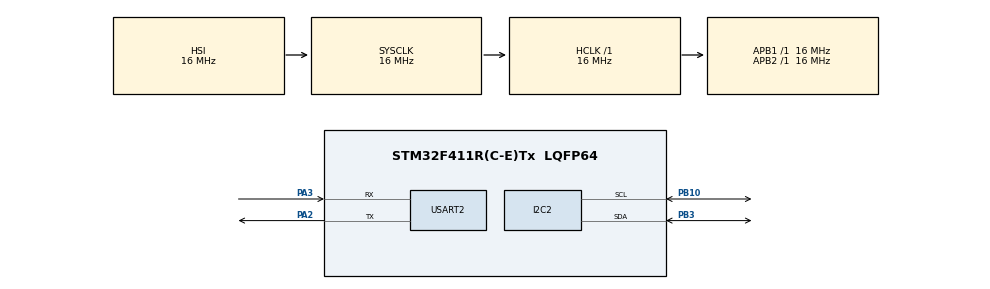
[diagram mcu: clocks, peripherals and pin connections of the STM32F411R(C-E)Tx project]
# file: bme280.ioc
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Mcu.Family=STM32F4
Mcu.Name=STM32F411R(C-E)Tx
Mcu.Package=LQFP64
NVIC.PriorityGroup=NVIC_PRIORITYGROUP_4
PA13.Mode=Serial_Wire
PA13.Signal=SYS_JTMS-SWDIO
PA14.Mode=Serial_Wire
PA14.Signal=SYS_JTCK-SWCLK
PA2.Mode=Asynchronous
PA2.Signal=USART2_TX
PA3.Mode=Asynchronous
PA3.Signal=USART2_RX
PB10.Mode=I2C
PB10.Signal=I2C2_SCL
PB3.Mode=I2C
PB3.Signal=I2C2_SDA
ProjectManager.HeapSize=0x200
ProjectManager.StackSize=0x400
ProjectManager.TargetToolchain=STM32CubeIDE
RCC.AHBFreq_Value=16000000
RCC.APB1Freq_Value=16000000
RCC.APB2Freq_Value=16000000
RCC.CortexFreq_Value=16000000
RCC.HSE_VALUE=25000000
RCC.HSI_VALUE=16000000
RCC.LSE_VALUE=32768
RCC.SYSCLKFreq_VALUE=16000000
RCC.VCOOutputFreq_Value=192000000
USART2.VirtualMode=VM_ASYNC
VP_TIM1_VS_ClockSourceINT.Mode=Internal
board=custom

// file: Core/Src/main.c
/* USER CODE BEGIN Header */
/**
  ******************************************************************************
  * @file           : main.c
  * @brief          : Main program body
  ******************************************************************************
  * @attention
  *
  * Copyright (c) 2025 STMicroelectronics.
  * All rights reserved.
  *
  * This software is licensed under terms that can be found in the LICENSE file
  * in the root directory of this software component.
  * If no LICENSE file comes with this software, it is provided AS-IS.
  *
  ******************************************************************************
  */
/* USER CODE END Header */
#include "main.h"

/* USER CODE BEGIN Includes */
#include <stdio.h>

/* USER CODE END Includes */

I2C_HandleTypeDef hi2c2;

TIM_HandleTypeDef htim1;

UART_HandleTypeDef huart2;

/* USER CODE BEGIN PV */
#define BMP280_ADDR (0x76 << 1)  // Use 0x77<<1 if SDO is pulled high

/* USER CODE END PV */

void SystemClock_Config(void);
static void MX_GPIO_Init(void);
static void MX_I2C2_Init(void);
static void MX_TIM1_Init(void);
static void MX_USART2_UART_Init(void);
void test_bmp280_chip_id(void);
void bmp280_configure(void);
void bmp280_read_calibration(void);
void bmp280_read_raw(int32_t *temp, int32_t *press);

/* USER CODE BEGIN PFP */
int32_t t_fine = 0;

// Calibration data struct
uint16_t dig_T1;
int16_t  dig_T2, dig_T3;
uint16_t dig_P1;
int16_t  dig_P2, dig_P3, dig_P4, dig_P5, dig_P6, dig_P7, dig_P8, dig_P9;
/* USER CODE END PFP */

int main(void)
{

  /* MCU Configuration--------------------------------------------------------*/

  /* Reset of all peripherals, Initializes the Flash interface and the Systick. */
  HAL_Init();

  /* Configure the system clock */
  SystemClock_Config();

  /* Initialize all configured peripherals */
  MX_GPIO_Init();
  MX_I2C2_Init();
  MX_TIM1_Init();
  MX_USART2_UART_Init();
  /* USER CODE BEGIN 2 */
  printf("🔁 Starting BMP280 test...\r\n");
  test_bmp280_chip_id();
  printf("🔁 Starting BMP280 sensor test...\r\n");

  bmp280_read_calibration();
  bmp280_configure();

  HAL_Delay(100);  // Wait for sensor to settlef

  int32_t temp, press;
  bmp280_read_raw(&temp, &press);

  printf("🌡 Temperature: %.2f °C\r\n", temp / 100.0);
  printf("⏱ Pressure   : %.2f hPa\r\n", press / 25600.0);
  /* USER CODE END 2 */

  /* Infinite loop */
  while (1)
  {
	  HAL_Delay(1000);
	  bmp280_read_raw(&temp, &press);

	  printf("🌡 Temperature: %.2f °C\r\n", temp / 100.0);
	  printf("⏱ Pressure   : %.2f hPa\r\n", press / 25600.0);
  }
}

void SystemClock_Config(void)
{
  RCC_OscInitTypeDef RCC_OscInitStruct = {0};
  RCC_ClkInitTypeDef RCC_ClkInitStruct = {0};

  /** Configure the main internal regulator output voltage
  */
  __HAL_RCC_PWR_CLK_ENABLE();
  __HAL_PWR_VOLTAGESCALING_CONFIG(PWR_REGULATOR_VOLTAGE_SCALE1);

  /** Initializes the RCC Oscillators according to the specified parameters
  * in the RCC_OscInitTypeDef structure.
  */
  RCC_OscInitStruct.OscillatorType = RCC_OSCILLATORTYPE_HSI;
  RCC_OscInitStruct.HSIState = RCC_HSI_ON;
  RCC_OscInitStruct.HSICalibrationValue = RCC_HSICALIBRATION_DEFAULT;
  RCC_OscInitStruct.PLL.PLLState = RCC_PLL_NONE;
  if (HAL_RCC_OscConfig(&RCC_OscInitStruct) != HAL_OK)
  {
    Error_Handler();
  }

  /** Initializes the CPU, AHB and APB buses clocks
  */
  RCC_ClkInitStruct.ClockType = RCC_CLOCKTYPE_HCLK|RCC_CLOCKTYPE_SYSCLK
                              |RCC_CLOCKTYPE_PCLK1|RCC_CLOCKTYPE_PCLK2;
  RCC_ClkInitStruct.SYSCLKSource = RCC_SYSCLKSOURCE_HSI;
  RCC_ClkInitStruct.AHBCLKDivider = RCC_SYSCLK_DIV1;
  RCC_ClkInitStruct.APB1CLKDivider = RCC_HCLK_DIV1;
  RCC_ClkInitStruct.APB2CLKDivider = RCC_HCLK_DIV1;

  if (HAL_RCC_ClockConfig(&RCC_ClkInitStruct, FLASH_LATENCY_0) != HAL_OK)
  {
    Error_Handler();
  }
}

static void MX_I2C2_Init(void)
{

  hi2c2.Instance = I2C2;
  hi2c2.Init.ClockSpeed = 100000;
  hi2c2.Init.DutyCycle = I2C_DUTYCYCLE_2;
  hi2c2.Init.OwnAddress1 = 0;
  hi2c2.Init.AddressingMode = I2C_ADDRESSINGMODE_7BIT;
  hi2c2.Init.DualAddressMode = I2C_DUALADDRESS_DISABLE;
  hi2c2.Init.OwnAddress2 = 0;
  hi2c2.Init.GeneralCallMode = I2C_GENERALCALL_DISABLE;
  hi2c2.Init.NoStretchMode = I2C_NOSTRETCH_DISABLE;
  if (HAL_I2C_Init(&hi2c2) != HAL_OK)
  {
    Error_Handler();
  }

}

static void MX_TIM1_Init(void)
{

  TIM_ClockConfigTypeDef sClockSourceConfig = {0};
  TIM_MasterConfigTypeDef sMasterConfig = {0};

  htim1.Instance = TIM1;
  htim1.Init.Prescaler = 0;
  htim1.Init.CounterMode = TIM_COUNTERMODE_UP;
  htim1.Init.Period = 65535;
  htim1.Init.ClockDivision = TIM_CLOCKDIVISION_DIV1;
  htim1.Init.RepetitionCounter = 0;
  htim1.Init.AutoReloadPreload = TIM_AUTORELOAD_PRELOAD_DISABLE;
  if (HAL_TIM_Base_Init(&htim1) != HAL_OK)
  {
    Error_Handler();
  }
  sClockSourceConfig.ClockSource = TIM_CLOCKSOURCE_INTERNAL;
  if (HAL_TIM_ConfigClockSource(&htim1, &sClockSourceConfig) != HAL_OK)
  {
    Error_Handler();
  }
  sMasterConfig.MasterOutputTrigger = TIM_TRGO_RESET;
  sMasterConfig.MasterSlaveMode = TIM_MASTERSLAVEMODE_DISABLE;
  if (HAL_TIMEx_MasterConfigSynchronization(&htim1, &sMasterConfig) != HAL_OK)
  {
    Error_Handler();
  }

}

static void MX_USART2_UART_Init(void)
{

  huart2.Instance = USART2;
  huart2.Init.BaudRate = 115200;
  huart2.Init.WordLength = UART_WORDLENGTH_8B;
  huart2.Init.StopBits = UART_STOPBITS_1;
  huart2.Init.Parity = UART_PARITY_NONE;
  huart2.Init.Mode = UART_MODE_TX_RX;
  huart2.Init.HwFlowCtl = UART_HWCONTROL_NONE;
  huart2.Init.OverSampling = UART_OVERSAMPLING_16;
  if (HAL_UART_Init(&huart2) != HAL_OK)
  {
    Error_Handler();
  }

}

static void MX_GPIO_Init(void)
{

  /* GPIO Ports Clock Enable */
  __HAL_RCC_GPIOA_CLK_ENABLE();
  __HAL_RCC_GPIOB_CLK_ENABLE();

}

/* USER CODE BEGIN 4 */
void test_bmp280_chip_id(void) {
    uint8_t chip_id = 0;
    if (HAL_I2C_Mem_Read(&hi2c2, BMP280_ADDR, 0xD0, 1, &chip_id, 1, HAL_MAX_DELAY) == HAL_OK) {
        printf("✅ BMP280 Chip ID: 0x%02X\r\n", chip_id);  // Should be 0x60
    } else {
        printf("❌ I2C read failed\r\n");
    }
}

int __io_putchar(int ch) {
  HAL_UART_Transmit(&huart2, (uint8_t *)&ch, 1, HAL_MAX_DELAY);
  return ch;
}

void bmp280_read_calibration(void) {
    uint8_t calib[24];
    HAL_I2C_Mem_Read(&hi2c2, BMP280_ADDR, 0x88, 1, calib, 24, HAL_MAX_DELAY);

    dig_T1 = (uint16_t)(calib[1] << 8 | calib[0]);
    dig_T2 = (int16_t)(calib[3] << 8 | calib[2]);
    dig_T3 = (int16_t)(calib[5] << 8 | calib[4]);

    dig_P1 = (uint16_t)(calib[7] << 8 | calib[6]);
    dig_P2 = (int16_t)(calib[9] << 8 | calib[8]);
    dig_P3 = (int16_t)(calib[11] << 8 | calib[10]);
    dig_P4 = (int16_t)(calib[13] << 8 | calib[12]);
    dig_P5 = (int16_t)(calib[15] << 8 | calib[14]);
    dig_P6 = (int16_t)(calib[17] << 8 | calib[16]);
    dig_P7 = (int16_t)(calib[19] << 8 | calib[18]);
    dig_P8 = (int16_t)(calib[21] << 8 | calib[20]);
    dig_P9 = (int16_t)(calib[23] << 8 | calib[22]);
}

void bmp280_configure(void) {
    uint8_t ctrl_meas = 0x27;  // Temp x1, Press x1, Normal mode
    uint8_t config = 0xA0;     // Standby 1000ms, Filter x4
    HAL_I2C_Mem_Write(&hi2c2, BMP280_ADDR, 0xF4, 1, &ctrl_meas, 1, HAL_MAX_DELAY);
    HAL_I2C_Mem_Write(&hi2c2, BMP280_ADDR, 0xF5, 1, &config, 1, HAL_MAX_DELAY);
}

int32_t bmp280_compensate_temperature(int32_t adc_T) {
    int32_t var1, var2;
    var1 = ((((adc_T >> 3) - ((int32_t)dig_T1 << 1))) * ((int32_t)dig_T2)) >> 11;
    var2 = (((((adc_T >> 4) - ((int32_t)dig_T1)) *
              ((adc_T >> 4) - ((int32_t)dig_T1))) >> 12) * ((int32_t)dig_T3)) >> 14;
    t_fine = var1 + var2;
    return (t_fine * 5 + 128) >> 8;
}

uint32_t bmp280_compensate_pressure(int32_t adc_P) {
    int64_t var1, var2, p;
    var1 = ((int64_t)t_fine) - 128000;
    var2 = var1 * var1 * (int64_t)dig_P6;
    var2 = var2 + ((var1 * (int64_t)dig_P5) << 17);
    var2 = var2 + (((int64_t)dig_P4) << 35);
    var1 = ((var1 * var1 * (int64_t)dig_P3) >> 8) + ((var1 * (int64_t)dig_P2) << 12);
    var1 = (((((int64_t)1) << 47) + var1)) * ((int64_t)dig_P1) >> 33;

    if (var1 == 0) return 0;

    p = 1048576 - adc_P;
    p = (((p << 31) - var2) * 3125) / var1;
    var1 = (((int64_t)dig_P9) * (p >> 13) * (p >> 13)) >> 25;
    var2 = (((int64_t)dig_P8) * p) >> 19;
    p = ((p + var1 + var2) >> 8) + (((int64_t)dig_P7) << 4);
    return (uint32_t)p;
}

void bmp280_read_raw(int32_t *temp, int32_t *press) {
    uint8_t data[6];
    HAL_I2C_Mem_Read(&hi2c2, BMP280_ADDR, 0xF7, 1, data, 6, HAL_MAX_DELAY);
    int32_t adc_P = ((int32_t)data[0] << 12) | ((int32_t)data[1] << 4) | (data[2] >> 4);
    int32_t adc_T = ((int32_t)data[3] << 12) | ((int32_t)data[4] << 4) | (data[5] >> 4);

    *temp = bmp280_compensate_temperature(adc_T);
    *press = bmp280_compensate_pressure(adc_P);
}
/* USER CODE END 4 */

void Error_Handler(void)
{
  __disable_irq();
  while (1)
  {
  }
}
